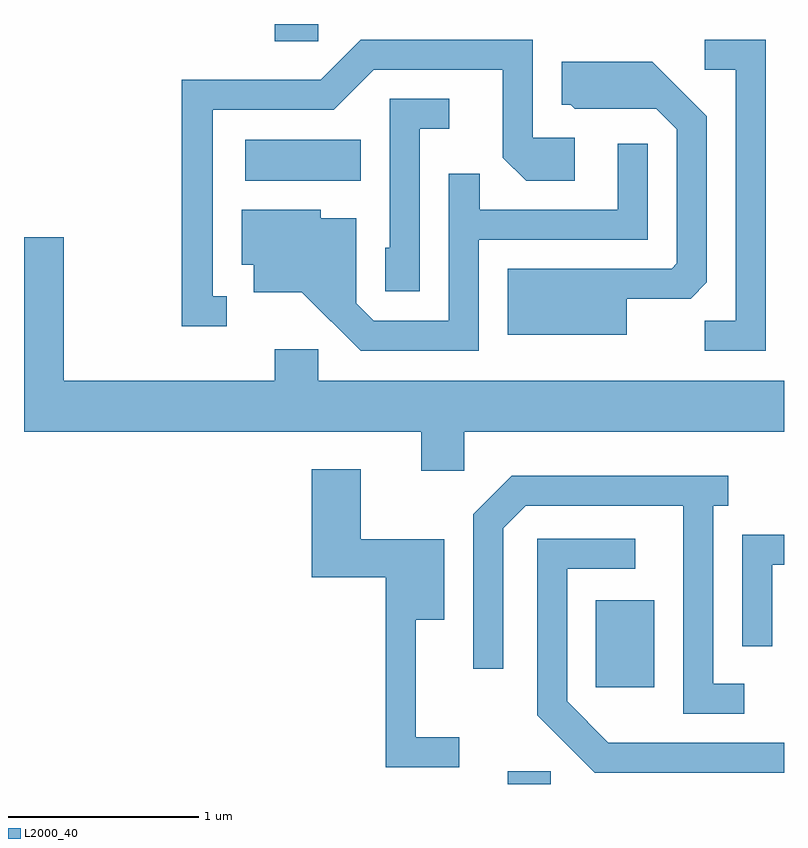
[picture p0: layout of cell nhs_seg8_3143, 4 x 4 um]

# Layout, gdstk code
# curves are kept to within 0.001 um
import gdstk
lib = gdstk.Library(unit=1e-6, precision=1e-09)
def R(c, l, rs):  # rectangles x0, y0, x1, y1
    for r in rs: c.add(gdstk.rectangle(r[:2], r[2:], *l))
def P(c, l, *ps):  # polygons
    for p in ps: c.add(gdstk.Polygon(p, *l))
L2000_40 = (2000, 40)

nhs_seg8_3143 = lib.new_cell('nhs_seg8_3143')
R(nhs_seg8_3143, L2000_40, [(282.156,1832.342,282.384,1832.409), (282.621,1832.851,282.929,1833.309), (280.776,1835.516,281.384,1835.734), (280.931,1836.251,281.159,1836.342)])
P(nhs_seg8_3143, L2000_40, [(283.514,1836.259),(283.193,1836.259),(283.193,1836.101),(283.356,1836.101),(283.356,1834.779),(283.193,1834.779),(283.193,1834.621),(283.514,1834.621)],
  [(280.678,1834.909),(280.604,1834.909),(280.604,1835.891),(281.242,1835.891),(281.452,1836.101),(282.131,1836.101),(282.131,1835.639),(282.254,1835.516),(282.509,1835.516),(282.509,1835.744),(282.289,1835.744),(282.289,1836.259),(281.384,1836.259),(281.174,1836.049),(280.441,1836.049),(280.441,1834.751),(280.678,1834.751)],
  [(282.784,1834.896),(283.119,1834.896),(283.204,1834.982),(283.204,1835.857),(282.917,1836.144),(282.441,1836.144),(282.441,1835.916),(282.489,1835.916),(282.509,1835.896),(282.939,1835.896),(283.046,1835.789),(283.046,1835.082),(283.019,1835.054),(282.156,1835.054),(282.156,1834.706),(282.784,1834.706)],
  [(281.694,1835.791),(281.848,1835.791),(281.848,1835.949),(281.536,1835.949),(281.536,1835.164),(281.511,1835.164),(281.511,1834.936),(281.694,1834.936)],
  [(282.004,1835.206),(282.894,1835.206),(282.894,1835.713),(282.736,1835.713),(282.736,1835.364),(282.009,1835.364),(282.009,1835.553),(281.846,1835.553),(281.846,1834.779),(281.452,1834.779),(281.359,1834.872),(281.359,1835.319),(281.174,1835.319),(281.174,1835.364),(280.756,1835.364),(280.756,1835.076),(280.821,1835.076),(280.821,1834.931),(281.074,1834.931),(281.384,1834.621),(282.004,1834.621)],
  [(281.929,1834.196),(283.611,1834.196),(283.611,1834.464),(281.159,1834.464),(281.159,1834.629),(280.931,1834.629),(280.931,1834.464),(279.819,1834.464),(279.819,1835.219),(279.611,1835.219),(279.611,1834.196),(281.701,1834.196),(281.701,1833.991),(281.929,1833.991)],
  [(281.903,1832.589),(281.674,1832.589),(281.674,1833.206),(281.824,1833.206),(281.824,1833.629),(281.384,1833.629),(281.384,1833.999),(281.126,1833.999),(281.126,1833.431),(281.516,1833.431),(281.516,1832.431),(281.903,1832.431)],
  [(283.403,1832.869),(283.239,1832.869),(283.239,1833.806),(283.318,1833.806),(283.318,1833.964),(282.179,1833.964),(281.976,1833.762),(281.976,1832.948),(282.134,1832.948),(282.134,1833.689),(282.252,1833.806),(283.081,1833.806),(283.081,1832.711),(283.403,1832.711)],
  [(283.549,1833.496),(283.611,1833.496),(283.611,1833.654),(283.391,1833.654),(283.391,1833.068),(283.549,1833.068)],
  [(283.611,1832.559),(282.687,1832.559),(282.469,1832.777),(282.469,1833.476),(282.828,1833.476),(282.828,1833.634),(282.311,1833.634),(282.311,1832.704),(282.614,1832.401),(283.611,1832.401)])

lib.write_gds('nhs_seg8_3143.gds')
